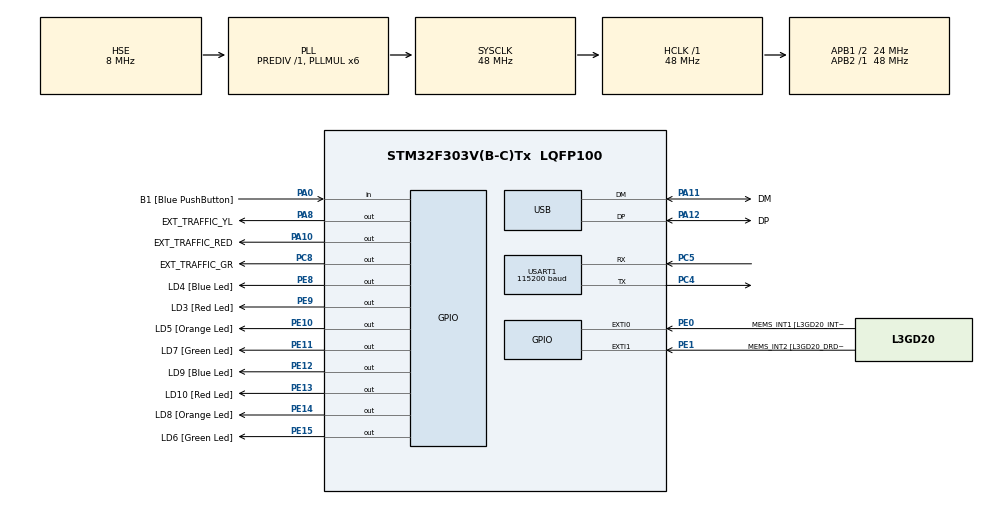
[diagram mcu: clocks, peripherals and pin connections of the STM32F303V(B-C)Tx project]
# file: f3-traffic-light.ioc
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Mcu.Family=STM32F3
Mcu.Name=STM32F303V(B-C)Tx
Mcu.Package=LQFP100
NVIC.PriorityGroup=NVIC_PRIORITYGROUP_0
NVIC.USB_LP_CAN_RX0_IRQn=true\:0\:0\:false\:false\:true\:false\:true\:true
PA0.GPIO_Label=B1 [Blue PushButton]
PA0.Signal=GPIO_Input
PA10.GPIO_Label=EXT_TRAFFIC_RED
PA10.GPIO_Speed=GPIO_SPEED_FREQ_HIGH
PA10.PinState=GPIO_PIN_RESET
PA10.Signal=GPIO_Output
PA11.GPIO_Label=DM
PA11.Mode=Device
PA11.Signal=USB_DM
PA12.GPIO_Label=DP
PA12.Mode=Device
PA12.Signal=USB_DP
PA13.GPIO_Label=SWDIO
PA13.Mode=Trace_Asynchronous_SW
PA13.Signal=SYS_JTMS-SWDIO
PA14.GPIO_Label=SWCLK
PA14.Mode=Trace_Asynchronous_SW
PA14.Signal=SYS_JTCK-SWCLK
PA8.GPIO_Label=EXT_TRAFFIC_YL
PA8.GPIO_Speed=GPIO_SPEED_FREQ_HIGH
PA8.PinState=GPIO_PIN_RESET
PA8.Signal=GPIO_Output
PB3.GPIO_Label=SWO
PB3.Mode=Trace_Asynchronous_SW
PB3.Signal=SYS_JTDO-TRACESWO
PC14-OSC32_IN.GPIO_Label=OSC32_IN
PC14-OSC32_IN.Signal=RCC_OSC32_IN
PC15-OSC32_OUT.GPIO_Label=OSC32_OUT
PC15-OSC32_OUT.Signal=RCC_OSC32_OUT
PC4.Mode=Asynchronous
PC4.Signal=USART1_TX
PC5.Mode=Asynchronous
PC5.Signal=USART1_RX
PC8.GPIO_Label=EXT_TRAFFIC_GR
PC8.GPIO_Speed=GPIO_SPEED_FREQ_HIGH
PC8.PinState=GPIO_PIN_RESET
PC8.Signal=GPIO_Output
PE0.GPIO_Label=MEMS_INT1 [L3GD20_INT1]
PE0.GPIO_ModeDefaultEXTI=GPIO_MODE_EVT_RISING
PE0.Signal=GPXTI0
PE1.GPIO_Label=MEMS_INT2 [L3GD20_DRDY/INT2]
PE1.GPIO_ModeDefaultEXTI=GPIO_MODE_EVT_RISING
PE1.Signal=GPXTI1
PE10.GPIO_Label=LD5 [Orange Led]
PE10.Signal=GPIO_Output
PE11.GPIO_Label=LD7 [Green Led]
PE11.Signal=GPIO_Output
PE12.GPIO_Label=LD9 [Blue Led]
PE12.Signal=GPIO_Output
PE13.GPIO_Label=LD10 [Red Led]
PE13.Signal=GPIO_Output
PE14.GPIO_Label=LD8 [Orange Led]
PE14.Signal=GPIO_Output
PE15.GPIO_Label=LD6 [Green Led]
PE15.Signal=GPIO_Output
PE8.GPIO_Label=LD4 [Blue Led]
PE8.Signal=GPIO_Output
PE9.GPIO_Label=LD3 [Red Led]
PE9.Signal=GPIO_Output
PF0-OSC_IN.GPIO_Label=OSC_IN
PF0-OSC_IN.Mode=HSE-External-Clock-Source
PF0-OSC_IN.Signal=RCC_OSC_IN
PF1-OSC_OUT.GPIO_Label=OSC_OUT
PF1-OSC_OUT.Signal=RCC_OSC_OUT
ProjectManager.HeapSize=0x200
ProjectManager.StackSize=0x400
ProjectManager.TargetToolchain=CMake
RCC.AHBFreq_Value=48000000
RCC.APB1CLKDivider=RCC_HCLK_DIV2
RCC.APB1Freq_Value=24000000
RCC.APB1TimFreq_Value=48000000
RCC.APB2Freq_Value=48000000
RCC.APB2TimFreq_Value=48000000
RCC.CortexFreq_Value=48000000
RCC.HCLKFreq_Value=48000000
RCC.HSE_VALUE=8000000
RCC.HSI_VALUE=8000000
RCC.LSE_VALUE=32768
RCC.PLLMUL=RCC_PLL_MUL6
RCC.SYSCLKFreq_VALUE=48000000
RCC.SYSCLKSourceVirtual=RCC_SYSCLKSOURCE_PLLCLK
RCC.USBFreq_Value=48000000
USART1.BaudRate=115200
USART1.VirtualMode-Asynchronous=VM_ASYNC
USB_DEVICE.CLASS_NAME_FS=CUSTOM_HID
USB_DEVICE.USBD_CUSTOM_HID_REPORT_DESC_SIZE=27
USB_DEVICE.VirtualMode=CustomHid
USB_DEVICE.VirtualModeFS=Custom_Hid_FS
VP_USB_DEVICE_VS_USB_DEVICE_CUSTOM_HID_FS.Mode=CUSTOM_HID_FS
board=STM32F3DISCOVERY

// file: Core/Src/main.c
/* USER CODE BEGIN Header */
/**
  ******************************************************************************
  * @file           : main.c
  * @brief          : Main program body
  ******************************************************************************
  * @attention
  *
  * Copyright (c) 2025 STMicroelectronics.
  * All rights reserved.
  *
  * This software is licensed under terms that can be found in the LICENSE file
  * in the root directory of this software component.
  * If no LICENSE file comes with this software, it is provided AS-IS.
  *
  ******************************************************************************
  */
/* USER CODE END Header */
#include "main.h"
#include "usb_device.h"

UART_HandleTypeDef huart1;

void SystemClock_Config(void);
static void MX_GPIO_Init(void);
static void MX_USART1_UART_Init(void);

/* USER CODE BEGIN 0 */
uint8_t led_state = 0;
/* USER CODE END 0 */

int main(void)
{

  /* MCU Configuration--------------------------------------------------------*/

  /* Reset of all peripherals, Initializes the Flash interface and the Systick. */
  HAL_Init();

  /* Configure the system clock */
  SystemClock_Config();

  /* Initialize all configured peripherals */
  MX_GPIO_Init();
  MX_USB_DEVICE_Init();
  MX_USART1_UART_Init();

  /* Infinite loop */
  /* USER CODE BEGIN WHILE */
  while (1)
  {
    unsigned char uart_cmd = 0;
    if (HAL_UART_Receive(&huart1, &uart_cmd, 1, 1) == HAL_OK)
    {
       led_state = uart_cmd & 7;
    }
    GPIO_PinState green = (led_state & 1) ? GPIO_PIN_SET : GPIO_PIN_RESET;
    GPIO_PinState yellow = (led_state & 2) ? GPIO_PIN_SET : GPIO_PIN_RESET;
    GPIO_PinState red = (led_state & 4) ? GPIO_PIN_SET : GPIO_PIN_RESET;
    HAL_GPIO_WritePin(LD6_GPIO_Port,LD6_Pin, green);
    HAL_GPIO_WritePin(LD7_GPIO_Port,LD7_Pin, green);
    HAL_GPIO_WritePin(EXT_TRAFFIC_GR_GPIO_Port,EXT_TRAFFIC_GR_Pin, green);

    HAL_GPIO_WritePin(LD5_GPIO_Port,LD5_Pin, yellow);
    HAL_GPIO_WritePin(LD8_GPIO_Port,LD8_Pin, yellow);
    HAL_GPIO_WritePin(EXT_TRAFFIC_YL_GPIO_Port,EXT_TRAFFIC_YL_Pin, yellow);

    HAL_GPIO_WritePin(LD3_GPIO_Port,LD3_Pin, red);
    HAL_GPIO_WritePin(LD10_GPIO_Port,LD10_Pin, red);
    HAL_GPIO_WritePin(EXT_TRAFFIC_RED_GPIO_Port,EXT_TRAFFIC_RED_Pin, red);
    /* USER CODE END WHILE */

  }
}

void SystemClock_Config(void)
{
  RCC_OscInitTypeDef RCC_OscInitStruct = {0};
  RCC_ClkInitTypeDef RCC_ClkInitStruct = {0};
  RCC_PeriphCLKInitTypeDef PeriphClkInit = {0};

  /** Initializes the RCC Oscillators according to the specified parameters
  * in the RCC_OscInitTypeDef structure.
  */
  RCC_OscInitStruct.OscillatorType = RCC_OSCILLATORTYPE_HSE;
  RCC_OscInitStruct.HSEState = RCC_HSE_BYPASS;
  RCC_OscInitStruct.HSEPredivValue = RCC_HSE_PREDIV_DIV1;
  RCC_OscInitStruct.HSIState = RCC_HSI_ON;
  RCC_OscInitStruct.PLL.PLLState = RCC_PLL_ON;
  RCC_OscInitStruct.PLL.PLLSource = RCC_PLLSOURCE_HSE;
  RCC_OscInitStruct.PLL.PLLMUL = RCC_PLL_MUL6;
  if (HAL_RCC_OscConfig(&RCC_OscInitStruct) != HAL_OK)
  {
    Error_Handler();
  }

  /** Initializes the CPU, AHB and APB buses clocks
  */
  RCC_ClkInitStruct.ClockType = RCC_CLOCKTYPE_HCLK|RCC_CLOCKTYPE_SYSCLK
                              |RCC_CLOCKTYPE_PCLK1|RCC_CLOCKTYPE_PCLK2;
  RCC_ClkInitStruct.SYSCLKSource = RCC_SYSCLKSOURCE_PLLCLK;
  RCC_ClkInitStruct.AHBCLKDivider = RCC_SYSCLK_DIV1;
  RCC_ClkInitStruct.APB1CLKDivider = RCC_HCLK_DIV2;
  RCC_ClkInitStruct.APB2CLKDivider = RCC_HCLK_DIV1;

  if (HAL_RCC_ClockConfig(&RCC_ClkInitStruct, FLASH_LATENCY_1) != HAL_OK)
  {
    Error_Handler();
  }
  PeriphClkInit.PeriphClockSelection = RCC_PERIPHCLK_USB|RCC_PERIPHCLK_USART1;
  PeriphClkInit.Usart1ClockSelection = RCC_USART1CLKSOURCE_PCLK2;
  PeriphClkInit.USBClockSelection = RCC_USBCLKSOURCE_PLL;
  if (HAL_RCCEx_PeriphCLKConfig(&PeriphClkInit) != HAL_OK)
  {
    Error_Handler();
  }
}

static void MX_USART1_UART_Init(void)
{

  huart1.Instance = USART1;
  huart1.Init.BaudRate = 115200;
  huart1.Init.WordLength = UART_WORDLENGTH_8B;
  huart1.Init.StopBits = UART_STOPBITS_1;
  huart1.Init.Parity = UART_PARITY_NONE;
  huart1.Init.Mode = UART_MODE_TX_RX;
  huart1.Init.HwFlowCtl = UART_HWCONTROL_NONE;
  huart1.Init.OverSampling = UART_OVERSAMPLING_16;
  huart1.Init.OneBitSampling = UART_ONE_BIT_SAMPLE_DISABLE;
  huart1.AdvancedInit.AdvFeatureInit = UART_ADVFEATURE_NO_INIT;
  if (HAL_UART_Init(&huart1) != HAL_OK)
  {
    Error_Handler();
  }

}

static void MX_GPIO_Init(void)
{
  GPIO_InitTypeDef GPIO_InitStruct = {0};

  /* GPIO Ports Clock Enable */
  __HAL_RCC_GPIOC_CLK_ENABLE();
  __HAL_RCC_GPIOF_CLK_ENABLE();
  __HAL_RCC_GPIOA_CLK_ENABLE();
  __HAL_RCC_GPIOE_CLK_ENABLE();
  __HAL_RCC_GPIOB_CLK_ENABLE();

  /*Configure GPIO pin Output Level */
  HAL_GPIO_WritePin(GPIOE, LD4_Pin|LD3_Pin|LD5_Pin|LD7_Pin
                          |LD9_Pin|LD10_Pin|LD8_Pin|LD6_Pin, GPIO_PIN_RESET);

  /*Configure GPIO pin Output Level */
  HAL_GPIO_WritePin(EXT_TRAFFIC_GR_GPIO_Port, EXT_TRAFFIC_GR_Pin, GPIO_PIN_RESET);

  /*Configure GPIO pin Output Level */
  HAL_GPIO_WritePin(GPIOA, EXT_TRAFFIC_YL_Pin|EXT_TRAFFIC_RED_Pin, GPIO_PIN_RESET);

  /*Configure GPIO pin : B1_Pin */
  GPIO_InitStruct.Pin = B1_Pin;
  GPIO_InitStruct.Mode = GPIO_MODE_INPUT;
  GPIO_InitStruct.Pull = GPIO_NOPULL;
  HAL_GPIO_Init(B1_GPIO_Port, &GPIO_InitStruct);

  /*Configure GPIO pins : LD4_Pin LD3_Pin LD5_Pin LD7_Pin
                           LD9_Pin LD10_Pin LD8_Pin LD6_Pin */
  GPIO_InitStruct.Pin = LD4_Pin|LD3_Pin|LD5_Pin|LD7_Pin
                          |LD9_Pin|LD10_Pin|LD8_Pin|LD6_Pin;
  GPIO_InitStruct.Mode = GPIO_MODE_OUTPUT_PP;
  GPIO_InitStruct.Pull = GPIO_NOPULL;
  GPIO_InitStruct.Speed = GPIO_SPEED_FREQ_LOW;
  HAL_GPIO_Init(GPIOE, &GPIO_InitStruct);

  /*Configure GPIO pin : EXT_TRAFFIC_GR_Pin */
  GPIO_InitStruct.Pin = EXT_TRAFFIC_GR_Pin;
  GPIO_InitStruct.Mode = GPIO_MODE_OUTPUT_PP;
  GPIO_InitStruct.Pull = GPIO_NOPULL;
  GPIO_InitStruct.Speed = GPIO_SPEED_FREQ_HIGH;
  HAL_GPIO_Init(EXT_TRAFFIC_GR_GPIO_Port, &GPIO_InitStruct);

  /*Configure GPIO pins : EXT_TRAFFIC_YL_Pin EXT_TRAFFIC_RED_Pin */
  GPIO_InitStruct.Pin = EXT_TRAFFIC_YL_Pin|EXT_TRAFFIC_RED_Pin;
  GPIO_InitStruct.Mode = GPIO_MODE_OUTPUT_PP;
  GPIO_InitStruct.Pull = GPIO_NOPULL;
  GPIO_InitStruct.Speed = GPIO_SPEED_FREQ_HIGH;
  HAL_GPIO_Init(GPIOA, &GPIO_InitStruct);

  /*Configure GPIO pins : MEMS_INT1_Pin MEMS_INT2_Pin */
  GPIO_InitStruct.Pin = MEMS_INT1_Pin|MEMS_INT2_Pin;
  GPIO_InitStruct.Mode = GPIO_MODE_EVT_RISING;
  GPIO_InitStruct.Pull = GPIO_NOPULL;
  HAL_GPIO_Init(GPIOE, &GPIO_InitStruct);

}

void Error_Handler(void)
{
  __disable_irq();
  while (1)
  {
  }
}
